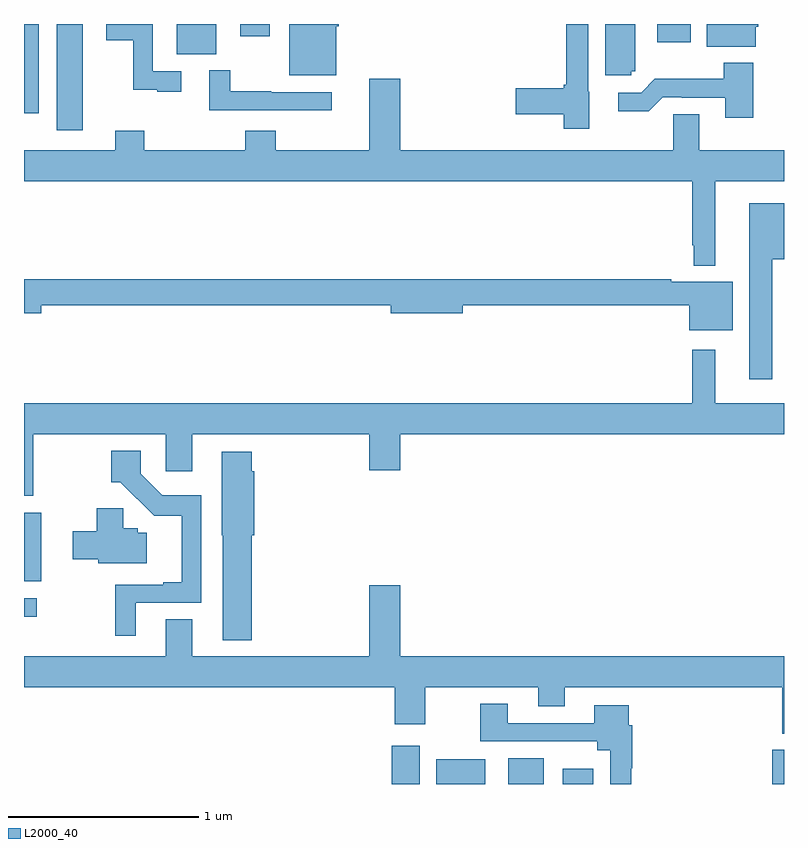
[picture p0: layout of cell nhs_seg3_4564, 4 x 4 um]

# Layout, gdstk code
import gdstk
lib = gdstk.Library(unit=1e-6, precision=1e-09)
def R(c, l, rs):  # rectangles x0, y0, x1, y1
    for r in rs: c.add(gdstk.rectangle(r[:2], r[2:], *l))
def P(c, l, *ps):  # polygons
    for p in ps: c.add(gdstk.Polygon(p, *l))
L2000_40 = (2000, 40)

nhs_seg3_4564 = lib.new_cell('nhs_seg3_4564')
R(nhs_seg3_4564, L2000_40, [(356.936,708.4,357.082,708.601), (357.17,708.4,357.427,708.529), (357.548,708.4,357.736,708.535), (357.836,708.4,357.997,708.481), (358.939,708.4,359,708.58), (355,709.281,355.066,709.377), (355,709.466,355.09,709.828), (355.172,711.84,355.309,712.4), (355,711.93,355.077,712.4), (355.805,712.241,356.011,712.4), (358.332,712.304,358.509,712.4), (356.139,712.335,356.293,712.4)])
P(nhs_seg3_4564, L2000_40, [(358.852,712.385),(358.865,712.385),(358.865,712.4),(358.594,712.4),(358.594,712.28),(358.852,712.28)],
  [(358.197,712.152),(358.216,712.152),(358.216,712.4),(358.058,712.4),(358.058,712.131),(358.197,712.131)],
  [(356.644,712.388),(356.657,712.388),(356.657,712.4),(356.396,712.4),(356.396,712.13),(356.644,712.13)],
  [(357.976,712.044),(357.969,712.044),(357.969,712.4),(357.853,712.4),(357.853,712.079),(357.84,712.079),(357.84,712.061),(357.588,712.061),(357.588,711.926),(357.84,711.926),(357.84,711.848),(357.976,711.848)],
  [(355.828,712.152),(355.677,712.152),(355.677,712.4),(355.434,712.4),(355.434,712.315),(355.576,712.315),(355.576,712.055),(355.7,712.055),(355.7,712.044),(355.828,712.044)],
  [(358.839,712.195),(358.684,712.195),(358.684,712.111),(358.321,712.111),(358.248,712.038),(358.128,712.038),(358.128,711.941),(358.289,711.941),(358.362,712.014),(358.462,712.014),(358.462,712.011),(358.691,712.011),(358.691,711.906),(358.839,711.906)],
  [(356.62,712.041),(356.3,712.041),(356.3,712.046),(356.086,712.046),(356.086,712.156),(355.976,712.156),(355.976,711.945),(356.62,711.945)],
  [(358.639,711.572),(359,711.572),(359,711.736),(358.555,711.736),(358.555,711.926),(358.416,711.926),(358.416,711.736),(356.98,711.736),(356.98,712.111),(356.816,712.111),(356.816,711.736),(356.325,711.736),(356.325,711.838),(356.165,711.838),(356.165,711.736),(355.634,711.736),(355.634,711.838),(355.481,711.838),(355.481,711.736),(355,711.736),(355,711.572),(358.518,711.572),(358.518,711.235),(358.524,711.235),(358.524,711.128),(358.639,711.128)],
  [(358.939,711.161),(359,711.161),(359,711.457),(358.817,711.457),(358.817,710.529),(358.939,710.529)],
  [(358.729,711.043),(358.406,711.043),(358.406,711.056),(355,711.056),(355,710.878),(355.09,710.878),(355.09,710.92),(356.93,710.92),(356.93,710.878),(357.31,710.878),(357.31,710.92),(358.502,710.92),(358.502,710.789),(358.729,710.789)],
  [(355.048,710.24),(355.746,710.24),(355.746,710.046),(355.885,710.046),(355.885,710.24),(356.816,710.24),(356.816,710.052),(356.98,710.052),(356.98,710.24),(359,710.24),(359,710.404),(358.639,710.404),(358.639,710.686),(358.518,710.686),(358.518,710.404),(355,710.404),(355,709.917),(355.048,709.917)],
  [(355.588,709.353),(355.933,709.353),(355.933,709.92),(355.728,709.92),(355.614,710.034),(355.614,710.155),(355.459,710.155),(355.459,709.988),(355.507,709.988),(355.685,709.811),(355.829,709.811),(355.829,709.462),(355.733,709.462),(355.733,709.449),(355.479,709.449),(355.479,709.179),(355.588,709.179)],
  [(356.198,709.71),(356.213,709.71),(356.213,710.046),(356.198,710.046),(356.198,710.149),(356.042,710.149),(356.042,709.71),(356.045,709.71),(356.045,709.157),(356.198,709.157)],
  [(355.645,709.723),(355.599,709.723),(355.599,709.746),(355.523,709.746),(355.523,709.851),(355.384,709.851),(355.384,709.73),(355.257,709.73),(355.257,709.583),(355.391,709.583),(355.391,709.562),(355.645,709.562)],
  [(359,709.072),(356.98,709.072),(356.98,709.447),(356.816,709.447),(356.816,709.072),(355.885,709.072),(355.885,709.267),(355.745,709.267),(355.745,709.072),(355,709.072),(355,708.908),(356.951,708.908),(356.951,708.714),(357.111,708.714),(357.111,708.908),(357.707,708.908),(357.707,708.809),(357.847,708.809),(357.847,708.908),(358.991,708.908),(358.991,708.665),(359,708.665)],
  [(358.195,708.482),(358.202,708.482),(358.202,708.71),(358.183,708.71),(358.183,708.814),(358.001,708.814),(358.001,708.72),(357.547,708.72),(357.547,708.823),(357.4,708.823),(357.4,708.624),(358.016,708.624),(358.016,708.578),(358.086,708.578),(358.086,708.4),(358.195,708.4)])

lib.write_gds('nhs_seg3_4564.gds')
